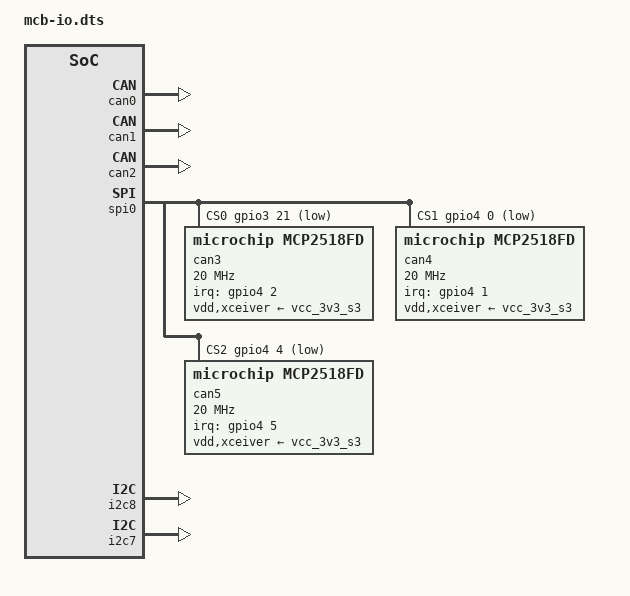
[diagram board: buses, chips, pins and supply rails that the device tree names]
/dts-v1/;
/plugin/;

/ {
    fragment@0 {
        target-path = "/mmc@fe2c0000";
        __overlay__ {
            status = "disabled";
        };
    };
    fragment@1 {
        target-path = "/vbus5v0-typec";
        __overlay__ {
            status = "disabled";
        };
    };

    fragment@3 {
        target-path = "/pcie@fe190000";
        __overlay__ {
            status = "disabled";
        };
    };

    fragment@4 {
        target-path = "/i2c@feca0000/es8316@11";
        __overlay__ {
            status = "disabled";
        };
    };

    fragment@5 {
        target = <&can0>;
        __overlay__ {
            compatible = "rockchip,can-2.0";
            status = "okay";
            assigned-clock-rates = <200000000>;
            pinctrl-names = "default";
            pinctrl-0 = <&can0m1_pins>;
        };
    };

    fragment@6 {
        target = <&can1>; 
        __overlay__ {
            compatible = "rockchip,can-2.0";
            status = "okay";
            assigned-clock-rates = <200000000>;
            pinctrl-names = "default";
            pinctrl-0 = <&can1m1_pins>;
        };
    };

    fragment@7 {
        target = <&can2>; 
        __overlay__ {
            compatible = "rockchip,can-2.0";
            status = "okay";
            assigned-clock-rates = <200000000>;
            pinctrl-names = "default";
            pinctrl-0 = <&can2m1_pins>;
        };
    };

    fragment@8 {
        target = <&spi0>;
        __overlay__ {
            status = "okay";
            num-cs = <3>;
            pinctrl-names = "default";
            pinctrl-0 = <&spi0m2_pins &mcp2518_cs_pin0 &mcp2518_cs_pin1 &mcp2518_cs_pin2>;
            #address-cells = <1>;
            #size-cells = <0>;
            max-freq = <20000000>;

            cs-gpios = <&gpio3 21 1>, <&gpio4 0 1>, <&gpio4 4 1>;

            can3: mcp2518fd@0 {
                status = "okay";
                compatible = "microchip,mcp2518fd";
                reg = <0>;
                spi-max-frequency = <20000000>;

                pinctrl-names = "default";
                pinctrl-0 = <&mcp2518_spi0_int0>; 

                interrupt-parent = <&gpio4>;
                interrupts = <2 2>;

                clocks = <&can_clock>;
                vdd-supply = <&vcc_3v3_s3>;
                xceiver-supply = <&vcc_3v3_s3>;
            };
            can4: mcp2518fd@1 {
                status = "okay";
                compatible = "microchip,mcp2518fd";
                reg = <1>;
                spi-max-frequency = <20000000>;
                
                pinctrl-names = "default";
                pinctrl-0 = <&mcp2518_spi0_int1>; 

                interrupt-parent = <&gpio4>;
                interrupts = <1 2>;

                clocks = <&can_clock>;
                vdd-supply = <&vcc_3v3_s3>;
                xceiver-supply = <&vcc_3v3_s3>;
            };
            can5: mcp2518fd@2 {
                status = "okay";
                compatible = "microchip,mcp2518fd";
                reg = <2>;
                spi-max-frequency = <20000000>;
                
                pinctrl-names = "default";
                pinctrl-0 = <&mcp2518_spi0_int2>; 

                interrupt-parent = <&gpio4>;
                interrupts = <5 2>;

                clocks = <&can_clock>;
                vdd-supply = <&vcc_3v3_s3>;
                xceiver-supply = <&vcc_3v3_s3>;
            };
        };
    };

    fragment@9 {
        target = <&pinctrl>; 
        __overlay__ {
            mcp2518 {
                mcp2518_spi0_int0: mcp2518-spi0-int0 {
                    rockchip,pins = <4 2 0 &pcfg_pull_none>; 
                };
                mcp2518_spi0_int1: mcp2518-spi0-int1 {
                    rockchip,pins = <4 1 0 &pcfg_pull_none>; 
                };
                mcp2518_spi0_int2: mcp2518-spi0-int2 {
                    rockchip,pins = <4 5 0 &pcfg_pull_none>; 
                };
                mcp2518_cs_pin0: mcp2518-cs-pin0 {
                    rockchip,pins = <3 21 0 &pcfg_pull_up_drv_level_5>;
                };
                mcp2518_cs_pin1: mcp2518-cs-pin1 {
                    rockchip,pins = <4 0 0 &pcfg_pull_up_drv_level_5>;
                };
                mcp2518_cs_pin2: mcp2518-cs-pin2 {
                    rockchip,pins = <4 4 0 &pcfg_pull_up_drv_level_5>;
                };
            };
        };
    };

    fragment@10 {
        target-path = "/";
        __overlay__ {
            can_clock: can-clock {
                compatible = "fixed-clock";
                #clock-cells = <0>;
                clock-frequency  = <40000000>;
            };
        };
    };

    fragment@11 {
        target = <&i2c8>;
        __overlay__ {
            status = "okay";
            pinctrl-0 = <&i2c8m0_xfer>;
        };
    };

    fragment@12 {
        target = <&i2c7>;
        __overlay__ {
            status = "okay";
            pinctrl-0 = <&i2c7m2_xfer>;
        };
    };
};
